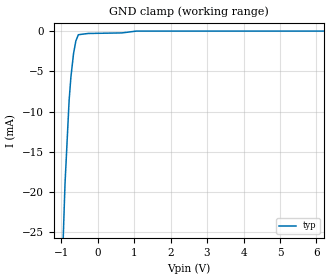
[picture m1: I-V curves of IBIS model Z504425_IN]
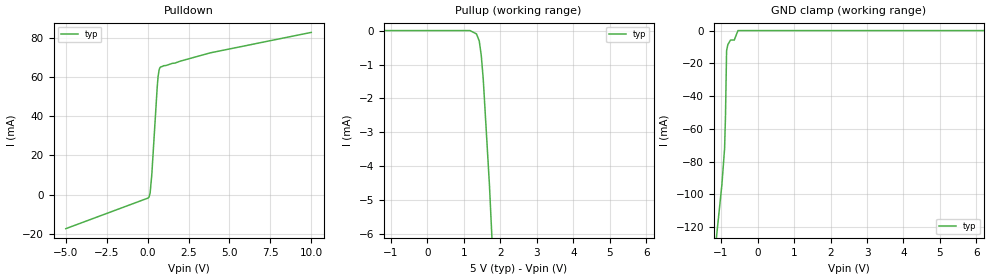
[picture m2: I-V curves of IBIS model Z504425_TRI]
| YOU ARE ONLY AUTHORIZED TO USE THIS SOFTWARE
| ACCORDING TO LICENSOR'S LICENSE RESTRICTIONS.
[IBIS Ver] 3.1
[File Name] sn54ls257aj.ibs
[File Rev] 2.0
[Source] Measured and created by ICX Technology
[Date] Friday 7/14/00 9:08:14 AM
[Copyright]
| (C) COPYRIGHT 1993-2000
| MENTOR GRAPHICS CORPORATION
| ICX STANDARD LIBRARY, ICX PROJECT MODELING,
| ICX CUSTOM MODELING, ICX VENDOR MODEL
| ALL RIGHTS RESERVED.
| THE FOLLOWING ARE TRADEMARKS OR SERVICE MARKS OF
| MENTOR GRAPHICS CORPORATION:ICX (R), ICX STANDARD
| LIBRARY(R), ICX PROJECT MODELING(R), ICX CUSTOM
| MODELING(R), qualityIBIS(TM), MODELVIEWER(TM),
| AND MODELEDITOR(TM)
| ALL COPIES OF SOFTWARE, INCLUDING BUT NOT LIMITED TO
| ANY MODIFICATIONS, ENHANCEMENTS OR DERIVATIVE WORKS,
| MUST CONTAIN ALL MENTOR GRAPHICS CORPORATION'S
| NOTICES AND LEGENDS, INCLUDING THOSE EMBEDDED IN
| SOFTWARE AND THOSE AFFIXED TO SOFTWARE MEDIUM
| AND CONTAINER, AS RECEIVED FROM MENTOR GRAPHICS
| CORPORATION.
|  ZAP Model Builder 2.7
[Component] SN54LS257AJ
[Manufacturer] OnSemiconductor
[Package]
| variable   typ   min   max
R_pkg  .212ohms NA NA
L_pkg  4.758nH NA NA
C_pkg  1.944pF NA NA
[Pin] signal_name  model_name  R_pin  L_pin C_pin
1 B_A Z504425_IN .224 7.258n 2.683p
2 A0 Z504425_IN .216 5.258n 2.19p
3 B0 Z504425_IN .208 3.758n 1.697p
4 Y0 Z504425_TRI .2 2.758n 1.204p
5 A1 Z504425_IN .2 2.758n 1.204p
6 B1 Z504425_IN .208 3.758n 1.697p
7 Y1 Z504425_TRI .216 5.258n 2.19p
8 GND GND .224 7.258n 2.683p
9 Y2 Z504425_TRI .224 7.258n 2.683p
10 B2 Z504425_IN .216 5.258n 2.19p
11 A2 Z504425_IN .208 3.758n 1.697p
12 Y3 Z504425_TRI .2 2.758n 1.204p
13 B3 Z504425_IN .2 2.758n 1.204p
14 A3 Z504425_IN .208 3.758n 1.697p
15 _G Z504425_IN .216 5.258n 2.19p
16 VCC POWER .224 7.258n 2.683p
| Models and submodels in the file (2): Z504425_IN (Input), Z504425_TRI (3-state)
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| (C) COPYRIGHT 1993-2000
| MENTOR GRAPHICS CORPORATION
| ICX STANDARD LIBRARY, ICX PROJECT MODELING,
| ICX CUSTOM MODELING, ICX VENDOR MODEL
| ALL RIGHTS RESERVED.
| THE FOLLOWING ARE TRADEMARKS OR SERVICE MARKS OF
| MENTOR GRAPHICS CORPORATION:ICX (R), ICX STANDARD
| LIBRARY(R), ICX PROJECT MODELING(R), ICX CUSTOM
| MODELING(R), qualityIBIS(TM), MODELVIEWER(TM),
| AND MODELEDITOR(TM)
| ALL COPIES OF SOFTWARE, INCLUDING BUT NOT LIMITED TO
| ANY MODIFICATIONS, ENHANCEMENTS OR DERIVATIVE WORKS,
| MUST CONTAIN ALL MENTOR GRAPHICS CORPORATION'S
| NOTICES AND LEGENDS, INCLUDING THOSE EMBEDDED IN
| SOFTWARE AND THOSE AFFIXED TO SOFTWARE MEDIUM
| AND CONTAINER, AS RECEIVED FROM MENTOR GRAPHICS
| CORPORATION.
| Model Application Version 1.89 2/18/99.
[Model] Z504425_IN
Model_type Input
Vinl = 800.0mV
Vinh = 2.000V
C_comp 4.000pF NA NA
| variable typ   min   max
[Voltage Range] 5.000V NA NA
[GND Clamp Reference] 0.000V NA NA
[POWER Clamp Reference] 5.000V NA NA
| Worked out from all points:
|   GND clamp passes 1 mA (typ) near -0.58 V on its own axis
[GND Clamp]
-5V       -583mA     NA         NA
-893.6mV  -18.99mA   NA         NA
-780.3mV  -8.574mA   NA         NA
-731.8mV  -5.707mA   NA         NA
-658.9mV  -2.778mA   NA         NA
-595.8mV  -1.214mA   NA         NA
-527.3mV  -451.8uA   NA         NA
-263.7mV  -297.3uA   NA         NA
668.9mV   -226.7uA   NA         NA
1.065V    -58.31nA   NA         NA
10V       -58.31nA   NA         NA
[POWER Clamp]
-5V       0A         NA         NA
10V       0A         NA         NA
| (C) COPYRIGHT 1993-2000
| MENTOR GRAPHICS CORPORATION
| ICX STANDARD LIBRARY, ICX PROJECT MODELING,
| ICX CUSTOM MODELING, ICX VENDOR MODEL
| ALL RIGHTS RESERVED.
| THE FOLLOWING ARE TRADEMARKS OR SERVICE MARKS OF
| MENTOR GRAPHICS CORPORATION:ICX (R), ICX STANDARD
| LIBRARY(R), ICX PROJECT MODELING(R), ICX CUSTOM
| MODELING(R), qualityIBIS(TM), MODELVIEWER(TM),
| AND MODELEDITOR(TM)
| ALL COPIES OF SOFTWARE, INCLUDING BUT NOT LIMITED TO
| ANY MODIFICATIONS, ENHANCEMENTS OR DERIVATIVE WORKS,
| MUST CONTAIN ALL MENTOR GRAPHICS CORPORATION'S
| NOTICES AND LEGENDS, INCLUDING THOSE EMBEDDED IN
| SOFTWARE AND THOSE AFFIXED TO SOFTWARE MEDIUM
| AND CONTAINER, AS RECEIVED FROM MENTOR GRAPHICS
| CORPORATION.
| Model Application Version 1.89 2/18/99.
[Model] Z504425_TRI
Model_type 3-state
Vref=588.0mV
Rref=588.5ohms
Cref=45.00pF
Vmeas=1.300V
C_comp 8.000pF NA NA
| variable typ   min   max
[Voltage Range] 5.000V NA NA
[POWER Clamp Reference] 5.000V NA NA
[Pullup Reference] 5.000V NA NA
[Pulldown Reference] 0.000V NA NA
[GND Clamp Reference] 0.000V NA NA
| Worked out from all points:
|   slope of the pulldown table from 0 to 0.75 V, typ, clamps not added: 11.3 ohm
|   GND clamp passes 1 mA (typ) near -0.55 V on its own axis
[GND Clamp]
-5V       -962.9mA   NA         NA
-976.6mV  -93.89mA   NA         NA
-903.4mV  -71.9mA    NA         NA
-878.9mV  -52.12mA   NA         NA
-848.9mV  -12.29mA   NA         NA
-813.2mV  -8.538mA   NA         NA
-741.8mV  -5.792mA   NA         NA
-639.1mV  -5.792mA   NA         NA
-536.4mV  0A         NA         NA
10V       0A         NA         NA
[Pulldown]
-5V       -17.45mA   NA         NA
29.75mV   -1.799mA   NA         NA
87.89mV   -1.271mA   NA         NA
151.4mV   601.1uA    NA         NA
257.4mV   10.34mA    NA         NA
587.3mV   54.95mA    NA         NA
640.1mV   60.26mA    NA         NA
700.6mV   63.62mA    NA         NA
776.4mV   65.04mA    NA         NA
3.839V    72.42mA    NA         NA
10V       82.86mA    NA         NA
[Pullup]
-5V       3.052uA    NA         NA
1.166V    3.052uA    NA         NA
1.343V    -94.36uA   NA         NA
1.421V    -305.3uA   NA         NA
1.475V    -724.6uA   NA         NA
1.53V     -1.434mA   NA         NA
1.699V    -4.536mA   NA         NA
10V       -194.7mA   NA         NA
[POWER Clamp]
-5V       0A         NA         NA
10V       0A         NA         NA
[Ramp]
| variable typ min max
dV/dt_r 1.857/7.502n NA NA
dV/dt_f 1.857/2.168n NA NA
R_load = 500.0Ohms
